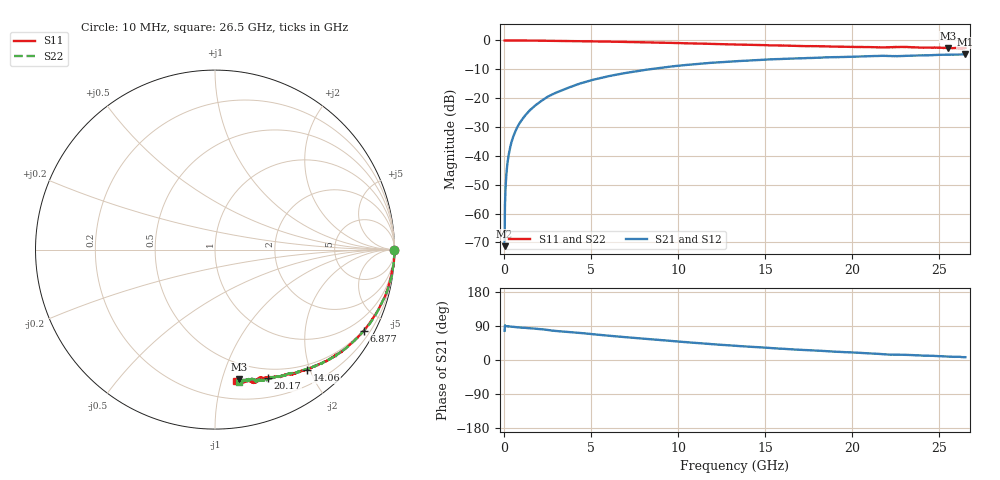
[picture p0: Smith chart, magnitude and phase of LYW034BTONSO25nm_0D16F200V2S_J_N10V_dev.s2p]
!Keysight Technologies,N5222B,MY61253708,A.15.00.15
!Date: Wednesday, June 19, 2024 08:42:27
!Correction: S11(C  2-Port  )
!S21(C  2-Port  )
!S12(C  2-Port  )
!S22(C  2-Port  )
!S2P File: Measurements: S11, S21, S12, S22:
# Hz S  RI  R 50
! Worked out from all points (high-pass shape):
!   2651 points, 10 MHz to 26.5 GHz, reference 50 ohm
!   highest |S21| = -4.77 dB at 26.5 GHz (marker M1); lowest = -71.3 dB at 10 MHz (marker M2)
!   |S21| within 3 dB of the highest: 11.86 GHz to end of sweep
!   lowest |S11| = -2.7 dB at 25.5 GHz (marker M3), VSWR 6.51, Z = 18.3 - j57 ohm
!   |S11| at or under -10 dB: nowhere
!   |S22| runs from -2.6 to 0.0 dB; largest |S21 - S12| = 0.009
!   S11 on the Smith chart (normalised r, x): 10 MHz: open; 6.877 GHz: 0.47, -3.88; 14.06 GHz: 0.42, -1.95; 20.17 GHz: 0.40, -1.42; 26.5 GHz: 0.34, -1.12
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1e7  0.9986 -0.00258  6.09e-05 0.000265  3e-05 0.000543  0.9987 -0.00104
7.997358e7  0.9998 -0.00645  4.46e-05 0.00344  2.77e-05 0.00338  0.9993 -0.00594
1.499472e8  0.9998 -0.0125  0.000107 0.0064  0.000124 0.00642  0.9994 -0.0117
1.899321e8  0.9999 -0.0147  0.00014 0.00814  0.000133 0.00811  0.9997 -0.014
2.399132e8  0.9991 -0.0192  0.000227 0.0103  0.000226 0.0102  0.9989 -0.0182
3.298792e8  0.9989 -0.0257  0.000404 0.0141  0.000414 0.014  0.999 -0.0246
4.598302e8  0.9984 -0.0363  0.0008 0.0195  0.000774 0.0195  0.9984 -0.0351
6.197698e8  0.9982 -0.0482  0.00149 0.0263  0.00149 0.0263  0.998 -0.0473
8.096981e8  0.9969 -0.0628  0.00239 0.0342  0.00233 0.0341  0.9965 -0.0612
1.43946e9  0.9871 -0.1114  0.00619 0.0604  0.00616 0.0602  0.99 -0.1075
2.319128e9  0.9743 -0.173  0.0164 0.0971  0.0164 0.097  0.9761 -0.1728
3.128823e9  0.9582 -0.2305  0.0317 0.1266  0.0315 0.1265  0.9592 -0.2283
4.428332e9  0.9203 -0.3152  0.0591 0.1728  0.0589 0.173  0.9228 -0.3115
6.877408e9  0.8295 -0.4509  0.1326 0.2354  0.1332 0.2356  0.8326 -0.4496
8.846664e9  0.7431 -0.5368  0.1995 0.2658  0.2 0.2661  0.7465 -0.5342
1.3255e10  0.5464 -0.6527  0.345 0.266  0.3463 0.2657  0.5515 -0.6515
1.406469e10  0.5113 -0.6701  0.3679 0.2585  0.3682 0.2587  0.5192 -0.6627
1.767333e10  0.3706 -0.7044  0.4497 0.2132  0.4523 0.2118  0.3836 -0.7034
2.017239e10  0.2941 -0.7164  0.4931 0.1759  0.4948 0.1736  0.3092 -0.7177
2.209166e10  0.2452 -0.7169  0.5213 0.1338  0.522 0.1318  0.2411 -0.7248
2.550038e10  0.1363 -0.7207  0.5598 0.0873  0.5609 0.0888  0.1573 -0.7285
2.65e10  0.1197 -0.7347  0.5723 0.0751  0.5705 0.0728  0.1327 -0.7366
